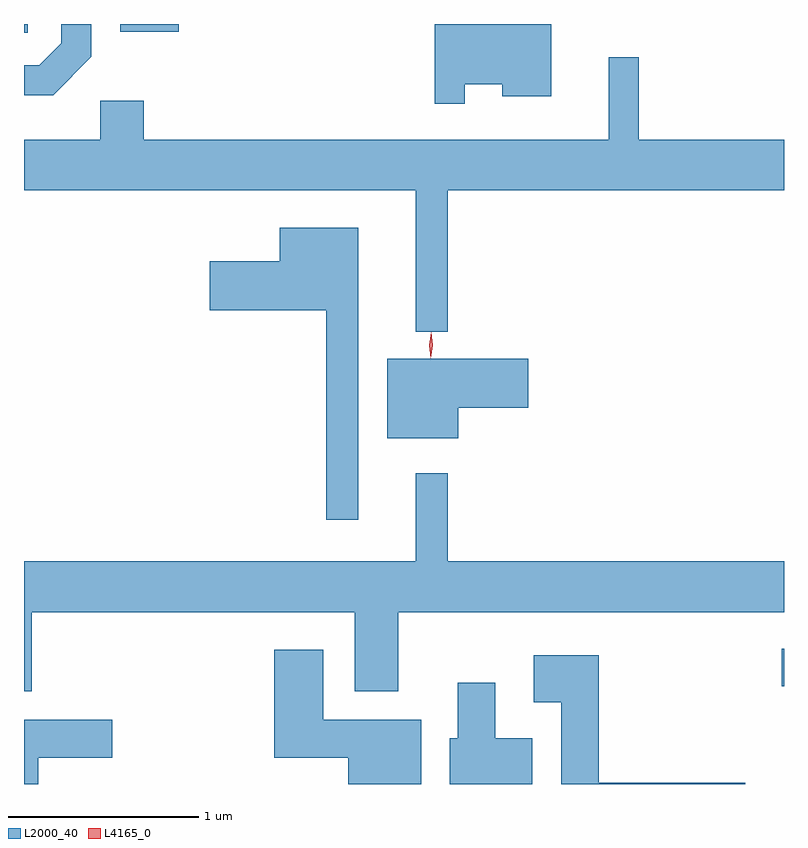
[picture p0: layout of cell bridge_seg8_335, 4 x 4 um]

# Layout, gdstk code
import gdstk
lib = gdstk.Library(unit=1e-6, precision=1e-09)
def R(c, l, rs):  # rectangles x0, y0, x1, y1
    for r in rs: c.add(gdstk.rectangle(r[:2], r[2:], *l))
def P(c, l, *ps):  # polygons
    for p in ps: c.add(gdstk.Polygon(p, *l))
L2000_40 = (2000, 40)
L4165_0 = (4165, 0)

bridge_seg8_335 = lib.new_cell('bridge_seg8_335')
R(bridge_seg8_335, L2000_40, [(885.416,1907.066,885.429,1907.264), (881.429,1910.506,881.449,1910.552), (881.936,1910.511,882.244,1910.552)])
P(bridge_seg8_335, L2000_40, [(883.749,1910.236),(883.946,1910.236),(883.946,1910.171),(884.204,1910.171),(884.204,1910.552),(883.591,1910.552),(883.591,1910.133),(883.749,1910.133)],
  [(881.784,1910.379),(881.784,1910.552),(881.626,1910.552),(881.626,1910.452),(881.509,1910.334),(881.429,1910.334),(881.429,1910.176),(881.582,1910.176)],
  [(883.659,1909.676),(885.429,1909.676),(885.429,1909.944),(884.664,1909.944),(884.664,1910.378),(884.506,1910.378),(884.506,1909.944),(882.059,1909.944),(882.059,1910.149),(881.831,1910.149),(881.831,1909.944),(881.429,1909.944),(881.429,1909.676),(883.491,1909.676),(883.491,1908.933),(883.659,1908.933)],
  [(883.189,1909.479),(882.776,1909.479),(882.776,1909.304),(882.406,1909.304),(882.406,1909.046),(883.021,1909.046),(883.021,1907.943),(883.189,1907.943)],
  [(883.714,1908.531),(884.084,1908.531),(884.084,1908.789),(883.341,1908.789),(883.341,1908.371),(883.714,1908.371)],
  [(881.469,1907.456),(883.171,1907.456),(883.171,1907.041),(883.399,1907.041),(883.399,1907.456),(885.429,1907.456),(885.429,1907.724),(883.659,1907.724),(883.659,1908.188),(883.491,1908.188),(883.491,1907.724),(881.429,1907.724),(881.429,1907.041),(881.469,1907.041)],
  [(883.519,1906.889),(883.004,1906.889),(883.004,1907.259),(882.746,1907.259),(882.746,1906.691),(883.136,1906.691),(883.136,1906.552),(883.519,1906.552)],
  [(885.224,1906.559),(884.454,1906.559),(884.454,1907.229),(884.111,1907.229),(884.111,1906.981),(884.256,1906.981),(884.256,1906.552),(885.224,1906.552)],
  [(884.104,1906.794),(883.909,1906.794),(883.909,1907.084),(883.711,1907.084),(883.711,1906.794),(883.671,1906.794),(883.671,1906.552),(884.104,1906.552)],
  [(881.504,1906.691),(881.894,1906.691),(881.894,1906.889),(881.429,1906.889),(881.429,1906.552),(881.504,1906.552)])
P(bridge_seg8_335, L4165_0, [(883.57,1908.794),(883.57,1908.794),(883.561,1908.862),(883.572,1908.93),(883.572,1908.93),(883.573,1908.93),(883.581,1908.862),(883.571,1908.794)],
  [(883.57,1908.8),(883.57,1908.801),(883.561,1908.864),(883.572,1908.926),(883.572,1908.927),(883.573,1908.926),(883.581,1908.863),(883.571,1908.801)])

lib.write_gds('bridge_seg8_335.gds')
